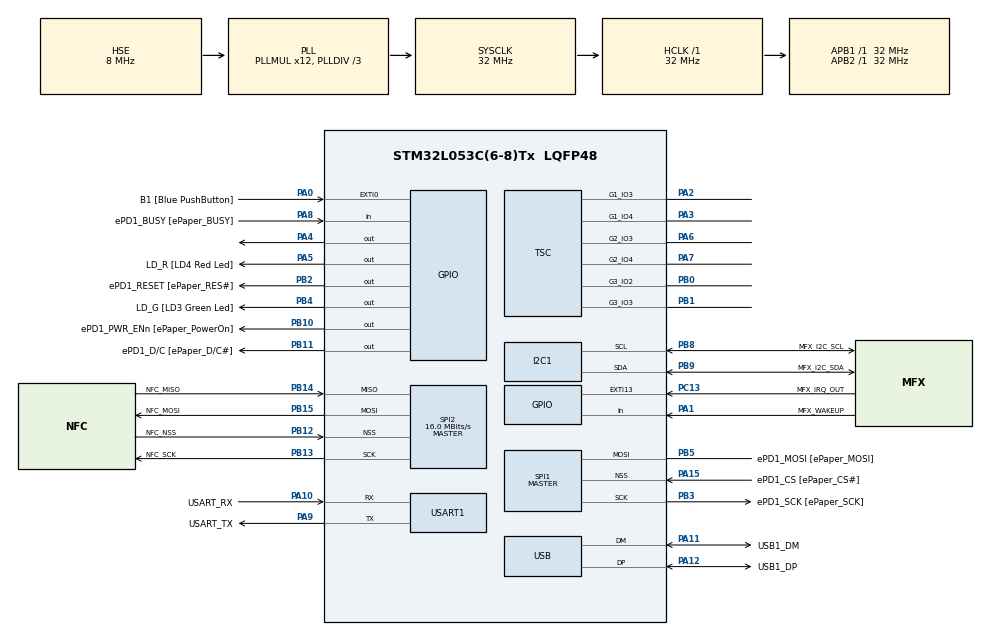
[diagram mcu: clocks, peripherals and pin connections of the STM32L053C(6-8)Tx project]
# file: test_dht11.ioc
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I2C1.Timing=0x00707CBB
Mcu.Family=STM32L0
Mcu.Name=STM32L053C(6-8)Tx
Mcu.Package=LQFP48
PA0.GPIO_Label=B1 [Blue PushButton]
PA0.GPIO_ModeDefaultEXTI=GPIO_MODE_EVT_RISING
PA0.GPIO_PuPd=GPIO_NOPULL
PA0.Signal=GPXTI0
PA1.GPIO_Label=MFX_WAKEUP
PA1.Signal=GPIO_Input
PA10.GPIO_Label=USART_RX
PA10.Mode=Asynchronous
PA10.Signal=USART1_RX
PA11.GPIO_Label=USB1_DM
PA11.Mode=Device
PA11.Signal=USB_DM
PA12.GPIO_Label=USB1_DP
PA12.Mode=Device
PA12.Signal=USB_DP
PA13.GPIO_Label=SWDIO
PA13.Mode=Serial_Wire
PA13.Signal=SYS_SWDIO
PA14.Mode=Serial_Wire
PA14.Signal=SYS_SWCLK
PA15.GPIO_Label=ePD1_CS [ePaper_CS\#]
PA15.GPIO_Mode=GPIO_MODE_AF_PP
PA15.GPIO_PuPd=GPIO_NOPULL
PA15.GPIO_Speed=GPIO_SPEED_FREQ_LOW
PA15.Mode=NSS_Signal_Hard_Input
PA15.Signal=SPI1_NSS
PA2.Mode=G1_IO3-Channel
PA2.Signal=TSC_G1_IO3
PA3.Mode=G1_IO4-Sampling
PA3.Signal=TSC_G1_IO4
PA4.Signal=GPIO_Output
PA5.GPIO_Label=LD_R [LD4 Red Led]
PA5.GPIO_ModeDefaultOutputPP=GPIO_MODE_OUTPUT_PP
PA5.GPIO_PuPd=GPIO_NOPULL
PA5.GPIO_Speed=GPIO_SPEED_FREQ_LOW
PA5.Signal=GPIO_Output
PA6.Mode=G2_IO3-Channel
PA6.Signal=TSC_G2_IO3
PA7.Mode=G2_IO4-Sampling
PA7.Signal=TSC_G2_IO4
PA8.GPIO_Label=ePD1_BUSY [ePaper_BUSY]
PA8.GPIO_Mode=GPIO_MODE_INPUT
PA8.GPIO_PuPd=GPIO_NOPULL
PA8.Signal=GPIO_Input
PA9.GPIO_Label=USART_TX
PA9.Mode=Asynchronous
PA9.Signal=USART1_TX
PB0.Mode=G3_IO2-Channel
PB0.Signal=TSC_G3_IO2
PB1.Mode=G3_IO3-Sampling
PB1.Signal=TSC_G3_IO3
PB10.GPIO_Label=ePD1_PWR_ENn [ePaper_PowerOn]
PB10.GPIO_ModeDefaultOutputPP=GPIO_MODE_OUTPUT_PP
PB10.GPIO_PuPd=GPIO_NOPULL
PB10.GPIO_Speed=GPIO_SPEED_FREQ_LOW
PB10.Signal=GPIO_Output
PB11.GPIO_Label=ePD1_D/C [ePaper_D/C\#]
PB11.GPIO_ModeDefaultOutputPP=GPIO_MODE_OUTPUT_PP
PB11.GPIO_PuPd=GPIO_NOPULL
PB11.GPIO_Speed=GPIO_SPEED_FREQ_LOW
PB11.Signal=GPIO_Output
PB12.GPIO_Label=NFC_NSS
PB12.Mode=NSS_Signal_Hard_Input
PB12.Signal=SPI2_NSS
PB13.GPIO_Label=NFC_SCK
PB13.Mode=Full_Duplex_Master
PB13.Signal=SPI2_SCK
PB14.GPIO_Label=NFC_MISO
PB14.Mode=Full_Duplex_Master
PB14.Signal=SPI2_MISO
PB15.GPIO_Label=NFC_MOSI
PB15.Mode=Full_Duplex_Master
PB15.Signal=SPI2_MOSI
PB2.GPIO_Label=ePD1_RESET [ePaper_RES\#]
PB2.GPIO_ModeDefaultOutputPP=GPIO_MODE_OUTPUT_PP
PB2.GPIO_PuPd=GPIO_NOPULL
PB2.GPIO_Speed=GPIO_SPEED_FREQ_LOW
PB2.Signal=GPIO_Output
PB3.GPIO_Label=ePD1_SCK [ePaper_SCK]
PB3.GPIO_Mode=GPIO_MODE_AF_PP
PB3.GPIO_PuPd=GPIO_NOPULL
PB3.GPIO_Speed=GPIO_SPEED_FREQ_LOW
PB3.Mode=Simplex_Bidirectional_Master
PB3.Signal=SPI1_SCK
PB4.GPIO_Label=LD_G [LD3 Green Led]
PB4.GPIO_ModeDefaultOutputPP=GPIO_MODE_OUTPUT_PP
PB4.GPIO_PuPd=GPIO_NOPULL
PB4.GPIO_Speed=GPIO_SPEED_FREQ_LOW
PB4.Signal=GPIO_Output
PB5.GPIO_Label=ePD1_MOSI [ePaper_MOSI]
PB5.GPIO_Mode=GPIO_MODE_AF_PP
PB5.GPIO_PuPd=GPIO_NOPULL
PB5.GPIO_Speed=GPIO_SPEED_FREQ_LOW
PB5.Mode=Simplex_Bidirectional_Master
PB5.Signal=SPI1_MOSI
PB8.GPIO_Label=MFX_I2C_SCL
PB8.GPIO_Pu=GPIO_PULLUP
PB8.Mode=I2C
PB8.Signal=I2C1_SCL
PB9.GPIO_Label=MFX_I2C_SDA
PB9.GPIO_Pu=GPIO_PULLUP
PB9.Mode=I2C
PB9.Signal=I2C1_SDA
PC13.GPIO_Label=MFX_IRQ_OUT
PC13.Signal=GPXTI13
PC14-OSC32_IN.GPIO_Label=PC14-OSC32_IN
PC14-OSC32_IN.Signal=RCC_OSC32_IN
PC15-OSC32_OUT.GPIO_Label=PC15-OSC32_OUT
PC15-OSC32_OUT.Signal=RCC_OSC32_OUT
PH0-OSC_IN.GPIO_Label=MCO
PH0-OSC_IN.Mode=HSE-External-Clock-Source
PH0-OSC_IN.Signal=RCC_OSC_IN
ProjectManager.HeapSize=0x200
ProjectManager.StackSize=0x400
ProjectManager.TargetToolchain=STM32CubeIDE
RCC.AHBFreq_Value=32000000
RCC.APB1Freq_Value=32000000
RCC.APB1TimFreq_Value=32000000
RCC.APB2Freq_Value=32000000
RCC.APB2TimFreq_Value=32000000
RCC.HCLKFreq_Value=32000000
RCC.HSE_VALUE=8000000
RCC.HSI16_VALUE=16000000
RCC.HSI48MClockSelection=RCC_USBCLKSOURCE_HSI48
RCC.HSI48_VALUE=48000000
RCC.HSI_VALUE=16000000
RCC.LSE_VALUE=32768
RCC.MSI_VALUE=2097000
RCC.PLLDIV=RCC_PLLDIV_3
RCC.PLLMUL=RCC_PLLMUL_12
RCC.PLLSourceVirtual=RCC_PLLSOURCE_HSE
RCC.RTCClockSelectionVirtual=RCC_RTCCLKSOURCE_LSE
RCC.SYSCLKFreq_VALUE=32000000
RCC.SYSCLKSource=RCC_SYSCLKSOURCE_PLLCLK
RCC.VCOOutputFreq_Value=96000000
SPI1.CalculateBaudRate-Simplex_Bidirectional_Master=16.0 MBits/s
SPI1.Direction=SPI_DIRECTION_1LINE
SPI1.Direction-Simplex_Bidirectional_Master=SPI_DIRECTION_1LINE
SPI1.Mode=SPI_MODE_MASTER
SPI1.Mode-Simplex_Bidirectional_Master=SPI_MODE_MASTER
SPI1.NSS-Simplex_Bidirectional_Master=SPI_NSS_HARD_OUTPUT
SPI1.TIMode-Simplex_Bidirectional_Master=SPI_TIMODE_DISABLE
SPI1.VirtualNSS=VM_NSSHARD
SPI1.VirtualType=VM_MASTER
SPI2.CalculateBaudRate=16.0 MBits/s
SPI2.Direction=SPI_DIRECTION_2LINES
SPI2.Mode=SPI_MODE_MASTER
SPI2.VirtualNSS=VM_NSSHARD
SPI2.VirtualType=VM_MASTER
TSC.ChannelIOs-G1_IO3=TSC_GROUP1_IO3
TSC.ChannelIOs-G2_IO3=TSC_GROUP2_IO3
TSC.ChannelIOs-G3_IO2=TSC_GROUP3_IO2
TSC.SamplingIOs-G1_IO4=TSC_GROUP1_IO4
TSC.SamplingIOs-G2_IO4=TSC_GROUP2_IO4
TSC.SamplingIOs-G3_IO3=TSC_GROUP3_IO3
USART1.VirtualMode-Asynchronous=VM_ASYNC
board=STM32L0538-DISCO

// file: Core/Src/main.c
/* USER CODE BEGIN Header */
/**
  ******************************************************************************
  * @file           : main.c
  * @brief          : Main program body
  ******************************************************************************
  * @attention
  *
  * Copyright (c) 2023 STMicroelectronics.
  * All rights reserved.
  *
  * This software is licensed under terms that can be found in the LICENSE file
  * in the root directory of this software component.
  * If no LICENSE file comes with this software, it is provided AS-IS.
  *
  ******************************************************************************
  */
/* USER CODE END Header */
#include "main.h"

/* USER CODE BEGIN Includes */
//#include "dhtxx.h"
//#include "dht11.h"
#include "DHT.h"
#include <stdio.h>
#include <string.h>

#include "stm32l053xx.h"
#include "stm32l0xx_hal_rcc.h"
#include "stm32l0xx_hal_gpio.h"
#include "picture.h"
#include "dht11.h"
#include "utils.h"
#include "gde021a1.h"
#include "stm32l0538_discovery.h"
#include "stm32l0538_discovery_epd.h"
/* USER CODE END Includes */

/* USER CODE BEGIN PTD */
//DHTxx_Drv_t dht1;
/* USER CODE END PTD */

I2C_HandleTypeDef hi2c1;

SPI_HandleTypeDef hspi1;
SPI_HandleTypeDef hspi2;

TSC_HandleTypeDef htsc;

UART_HandleTypeDef huart1;

PCD_HandleTypeDef hpcd_USB_FS;

/* USER CODE BEGIN PV */
GPIO_InitTypeDef GPIO_InitStruct = {0};
/* USER CODE END PV */

void SystemClock_Config(void);
static void MX_GPIO_Init(void);
static void MX_I2C1_Init(void);
static void MX_SPI1_Init(void);
static void MX_SPI2_Init(void);
static void MX_TSC_Init(void);
static void MX_USART1_UART_Init(void);
static void MX_USB_PCD_Init(void);

/* USER CODE BEGIN 0 */
void LoopDelay(volatile uint32_t n) {
	while(n > 0) n--;
}

static void SPIx_Init(void) {

    /* On STM32L0538-DISCO, EPD ID cannot be read then keep a common configuration */
    /* for EPD (SPI_DIRECTION_2LINES) */
    /* Note: To read a register a EPD, SPI_DIRECTION_1LINE should be set */
  DISCOVERY_SPIx->CR1 = 0
    | ( 1 * SPI_CR1_CPHA     )         // Clock Phase
    | ( 1 * SPI_CR1_CPOL     )         // Clock Polarity
    | ( 1 * SPI_CR1_MSTR     )         // Master Selection
    | ( SPI_CR1_BR__8 * SPI_CR1_BR_0     )         // BR[2:0] bits (Baud Rate Control)  // fPCLK/8
    | ( 1 * SPI_CR1_SPE      )         // SPI Enable
    | ( 0 * SPI_CR1_LSBFIRST )         // Frame Format
    | ( 1 * SPI_CR1_SSI      )         // Internal slave select
    | ( 1 * SPI_CR1_SSM      )         // Software slave management
    | ( 0 * SPI_CR1_RXONLY   )         // Receive only
    | ( SPI_CR1_DFF__8 * SPI_CR1_DFF      )         // Data Frame Format // 8 bits
    | ( 0 * SPI_CR1_CRCNEXT  )         // Transmit CRC next
    | ( 0 * SPI_CR1_CRCEN    )         // Hardware CRC calculation enable
    | ( 0 * SPI_CR1_BIDIOE   )         // Output enable in bidirectional mode
    | ( 0 * SPI_CR1_BIDIMODE )         // Bidirectional data mode enable
  ;
}

// won't be used anyway, as there is no MISO from the display
static uint32_t SPIx_Read(void) {
  return 0;
}

static void SPIx_Write(uint8_t n) {
  DISCOVERY_SPIx->DR = n;
  while (!(DISCOVERY_SPIx->SR & SPI_SR_TXE)) {
    // wait until empty
  }
  while ((DISCOVERY_SPIx->SR & SPI_SR_BSY)) {
    // wait until not busy
  }
}

void EPD_IO_Init(void) {
  // pins pinit - see gpio-clock init and gpio pins init in main()

  /* Enable Display */
  PIN_CLR(EPD_PWR);

  /* Set or Reset the control line */
  PIN_CLR(EPD_CS);
  PIN_SET(EPD_CS);

  /* EPD reset pin mamagement */
  PIN_SET(EPD_RESET);
  EPD_Delay(10);

  PIN_SET(DISCOVERY_SPIx_SCK);
  /* SPI Configuration */
  SPIx_Init();
}

void EPD_IO_WriteData(uint16_t n) {
  /* Reset EPD control line CS */
  PIN_CLR(EPD_CS);
  /* Set EPD data/command line DC to High */
  PIN_SET(EPD_DC);
  /* Send Data */
  SPIx_Write(n);
  /* Deselect: Chip Select high */
  PIN_SET(EPD_CS);
}

/**
  * @brief  Writes command to selected EPD register.
  * @param  Reg: Address of the selected register.
  * @retval None
  */
void EPD_IO_WriteReg(uint8_t n) {
  /* Reset EPD control line CS */
  PIN_CLR(EPD_CS);
  /* Set EPD data/command line DC to Low */
  PIN_CLR(EPD_DC);
  /* Send Command */
  SPIx_Write(n);
  /* Deselect: Chip Select high */
  PIN_SET(EPD_CS);
}

// following is bogus: there's no MISO connected
uint16_t EPD_IO_ReadData(void) {
  #if(1)
    return 0;
  #else
    /* Reset EPD control line CS */
    PIN_CLR(EPD_CS);
    /* Deselect: Chip Select high */
    PIN_SET(EPD_CS);
    /* Read Data */
    return SPIx_Read();
  #endif
}

/**
  * @brief  Wait for loop in ms.
  * @param  Delay in ms.
  * @retval None
  */
void EPD_Delay (uint32_t n) {
  LoopDelay(n * 3000);  // some fancy factor to get it roughly in ms
}

// ---------------------- M A I N -----------------------------------
uint16_t read_cycle(uint16_t cur_tics, uint8_t neg_tic){
	uint16_t cnt_tics;
 	if (cur_tics < MAX_TICS) cnt_tics = 0;
	if (neg_tic){
		//while (!GPIO_ReadInputDataBit(GPIOA,GPIO_PIN_4)&&(cnt_tics<MAX_TICS)){
		while (!HAL_GPIO_ReadPin(GPIOA,GPIO_PIN_4) && (cnt_tics<MAX_TICS)){
			cnt_tics++;
		}
	}
	else {
		//while (GPIO_ReadInputDataBit(GPIOA,GPIO_PIN_4)&&(cnt_tics<MAX_TICS)){
		while (HAL_GPIO_ReadPin(GPIOA,GPIO_PIN_4) && (cnt_tics<MAX_TICS)){
			cnt_tics++;
		}
	}
 	return cnt_tics;
}

uint8_t read_DHT11(uint8_t *buf){
	uint16_t dt[42];
	uint16_t cnt;
	uint8_t i, check_sum;

	GPIO_InitStruct.Pin = GPIO_PIN_4;
	GPIO_InitStruct.Mode = GPIO_MODE_OUTPUT_PP;
	GPIO_InitStruct.Pull = GPIO_NOPULL;
	GPIO_InitStruct.Speed = GPIO_SPEED_FREQ_LOW;
	HAL_GPIO_Init(GPIOA, &GPIO_InitStruct);

	//reset DHT11
	//Delay(500);
	HAL_Delay(500);
 	//GPIO_LOW(GPIOA, GPIO_PIN_3);
 	HAL_GPIO_WritePin(GPIOA, GPIO_PIN_4, RESET);
	//Delay(20);
	HAL_Delay(20);
 	//GPIO_HIGH(GPIOA, GPIO_PIN_3);
 	HAL_GPIO_WritePin(GPIOA, GPIO_PIN_4, SET);

 	GPIO_InitStruct.Pin = GPIO_PIN_4;
 	GPIO_InitStruct.Mode = GPIO_MODE_INPUT;
 	GPIO_InitStruct.Pull = GPIO_NOPULL;
 	GPIO_InitStruct.Speed = GPIO_SPEED_FREQ_LOW;
 	HAL_GPIO_Init(GPIOA, &GPIO_InitStruct);

  //start reading
 	cnt = 0;
	for(i=0;i<83 && cnt<MAX_TICS;i++){
		if (i & 1){
			cnt = read_cycle(cnt, 1);
		}
		else {
			cnt = read_cycle(cnt, 0);
			dt[i/2]= cnt;
		}
	}

 	//release line
	//GPIO_HIGH(GPIOA, GPIO_PIN_4);
	HAL_GPIO_WritePin(GPIOA, GPIO_PIN_4, SET);

	if (cnt>=MAX_TICS) return DHT11_NO_CONN;

	//convert data
 	for(i=2;i<42;i++){
		(*buf) <<= 1;
  	if (dt[i]>20) {
			(*buf)++;
 		}
		if (!((i-1)%8) && (i>2)) {
			buf++;
		}
 	}

	//calculate checksum
	buf -= 5;
	check_sum = 0;
 	for(i=0;i<4;i++){
		check_sum += *buf;
		buf++;
	}

	if (*buf != check_sum) return DHT11_CS_ERROR;

	return DHT11_OK;
	//return check_sum;
}
/* USER CODE END 0 */

int main(void)
{
  /* USER CODE BEGIN 1 */
  uint8_t buf[5], res;

  char strDisp[25];
  /* USER CODE END 1 */

  /* MCU Configuration--------------------------------------------------------*/

  /* Reset of all peripherals, Initializes the Flash interface and the Systick. */
  HAL_Init();

  /* Configure the system clock */
  SystemClock_Config();

  /* Initialize all configured peripherals */
  MX_GPIO_Init();
  MX_I2C1_Init();
  MX_SPI1_Init();
  MX_SPI2_Init();
  MX_TSC_Init();
  MX_USART1_UART_Init();
  MX_USB_PCD_Init();
  /* USER CODE BEGIN 2 */

  // testing dhtxx lib
  //DwtInit();
   /* Set DHT parameter */
  //dht1.DataPin = GPIO_PIN_4;
  //dht1.DataPort = GPIOA;
  //dht1.Type = DHT11;
  //-------------------------------
  static DHT_sensor livingRoom = {GPIOA, GPIO_PIN_4, DHT11, GPIO_NOPULL};

  BSP_EPD_Init();

 /* BSP_EPD_DrawImage(0, 0, 72, 172, (uint8_t*) picture_1);
  BSP_EPD_RefreshDisplay();
  BSP_EPD_Clear(EPD_COLOR_WHITE);
  HAL_Delay(1000);

  BSP_EPD_DisplayStringAt(0, 45, (unsigned char *)"Introduction to", CENTER_MODE);
  BSP_EPD_DisplayStringAt(0, 42, (unsigned char *)"embedded system", CENTER_MODE);
  BSP_EPD_DisplayStringAt(0, 39, (unsigned char *)"programming", CENTER_MODE);
  BSP_EPD_DisplayStringAt(0, 36, (unsigned char *)"by Yiman A.u.", CENTER_MODE);
  BSP_EPD_RefreshDisplay();
  BSP_EPD_Clear(EPD_COLOR_WHITE);
  HAL_Delay(2000);*/

  /* USER CODE END 2 */

  /* Infinite loop */
  while (1)
  {

    /* USER CODE BEGIN 3 */
	char msg[40];
	//Получение данных �? датчика
	DHT_data d = DHT_getData(&livingRoom);
	//Печать данных в буффер
	sprintf(msg, "Temp %dC, Hum %d%%", (uint8_t)d.temp, (uint8_t)d.hum);
	//Отправка тек�?та в UART

	BSP_EPD_DisplayStringAt(0, 40, (unsigned char *)msg, CENTER_MODE);
	BSP_EPD_RefreshDisplay();
	BSP_EPD_Clear(EPD_COLOR_WHITE);

	HAL_UART_Transmit(&huart1, (uint8_t*)msg, strlen(msg), 0xFF);

	//HAL_Delay(1000);
  }
  /* USER CODE END 3 */
}

void SystemClock_Config(void)
{
  RCC_OscInitTypeDef RCC_OscInitStruct = {0};
  RCC_ClkInitTypeDef RCC_ClkInitStruct = {0};
  RCC_PeriphCLKInitTypeDef PeriphClkInit = {0};

  /** Configure the main internal regulator output voltage
  */
  __HAL_PWR_VOLTAGESCALING_CONFIG(PWR_REGULATOR_VOLTAGE_SCALE1);

  /** Initializes the RCC Oscillators according to the specified parameters
  * in the RCC_OscInitTypeDef structure.
  */
  RCC_OscInitStruct.OscillatorType = RCC_OSCILLATORTYPE_HSE|RCC_OSCILLATORTYPE_HSI48;
  RCC_OscInitStruct.HSEState = RCC_HSE_BYPASS;
  RCC_OscInitStruct.HSI48State = RCC_HSI48_ON;
  RCC_OscInitStruct.PLL.PLLState = RCC_PLL_ON;
  RCC_OscInitStruct.PLL.PLLSource = RCC_PLLSOURCE_HSE;
  RCC_OscInitStruct.PLL.PLLMUL = RCC_PLLMUL_12;
  RCC_OscInitStruct.PLL.PLLDIV = RCC_PLLDIV_3;
  if (HAL_RCC_OscConfig(&RCC_OscInitStruct) != HAL_OK)
  {
    Error_Handler();
  }

  /** Initializes the CPU, AHB and APB buses clocks
  */
  RCC_ClkInitStruct.ClockType = RCC_CLOCKTYPE_HCLK|RCC_CLOCKTYPE_SYSCLK
                              |RCC_CLOCKTYPE_PCLK1|RCC_CLOCKTYPE_PCLK2;
  RCC_ClkInitStruct.SYSCLKSource = RCC_SYSCLKSOURCE_PLLCLK;
  RCC_ClkInitStruct.AHBCLKDivider = RCC_SYSCLK_DIV1;
  RCC_ClkInitStruct.APB1CLKDivider = RCC_HCLK_DIV1;
  RCC_ClkInitStruct.APB2CLKDivider = RCC_HCLK_DIV1;

  if (HAL_RCC_ClockConfig(&RCC_ClkInitStruct, FLASH_LATENCY_1) != HAL_OK)
  {
    Error_Handler();
  }
  PeriphClkInit.PeriphClockSelection = RCC_PERIPHCLK_USART1|RCC_PERIPHCLK_I2C1
                              |RCC_PERIPHCLK_USB;
  PeriphClkInit.Usart1ClockSelection = RCC_USART1CLKSOURCE_PCLK2;
  PeriphClkInit.I2c1ClockSelection = RCC_I2C1CLKSOURCE_PCLK1;
  PeriphClkInit.UsbClockSelection = RCC_USBCLKSOURCE_HSI48;
  if (HAL_RCCEx_PeriphCLKConfig(&PeriphClkInit) != HAL_OK)
  {
    Error_Handler();
  }
}

static void MX_I2C1_Init(void)
{

  hi2c1.Instance = I2C1;
  hi2c1.Init.Timing = 0x00707CBB;
  hi2c1.Init.OwnAddress1 = 0;
  hi2c1.Init.AddressingMode = I2C_ADDRESSINGMODE_7BIT;
  hi2c1.Init.DualAddressMode = I2C_DUALADDRESS_DISABLE;
  hi2c1.Init.OwnAddress2 = 0;
  hi2c1.Init.OwnAddress2Masks = I2C_OA2_NOMASK;
  hi2c1.Init.GeneralCallMode = I2C_GENERALCALL_DISABLE;
  hi2c1.Init.NoStretchMode = I2C_NOSTRETCH_DISABLE;
  if (HAL_I2C_Init(&hi2c1) != HAL_OK)
  {
    Error_Handler();
  }

  /** Configure Analogue filter
  */
  if (HAL_I2CEx_ConfigAnalogFilter(&hi2c1, I2C_ANALOGFILTER_ENABLE) != HAL_OK)
  {
    Error_Handler();
  }

  /** Configure Digital filter
  */
  if (HAL_I2CEx_ConfigDigitalFilter(&hi2c1, 0) != HAL_OK)
  {
    Error_Handler();
  }

}

static void MX_SPI1_Init(void)
{

  /* SPI1 parameter configuration*/
  hspi1.Instance = SPI1;
  hspi1.Init.Mode = SPI_MODE_MASTER;
  hspi1.Init.Direction = SPI_DIRECTION_1LINE;
  hspi1.Init.DataSize = SPI_DATASIZE_8BIT;
  hspi1.Init.CLKPolarity = SPI_POLARITY_LOW;
  hspi1.Init.CLKPhase = SPI_PHASE_1EDGE;
  hspi1.Init.NSS = SPI_NSS_HARD_INPUT;
  hspi1.Init.BaudRatePrescaler = SPI_BAUDRATEPRESCALER_2;
  hspi1.Init.FirstBit = SPI_FIRSTBIT_MSB;
  hspi1.Init.TIMode = SPI_TIMODE_DISABLE;
  hspi1.Init.CRCCalculation = SPI_CRCCALCULATION_DISABLE;
  hspi1.Init.CRCPolynomial = 7;
  if (HAL_SPI_Init(&hspi1) != HAL_OK)
  {
    Error_Handler();
  }

}

static void MX_SPI2_Init(void)
{

  /* SPI2 parameter configuration*/
  hspi2.Instance = SPI2;
  hspi2.Init.Mode = SPI_MODE_MASTER;
  hspi2.Init.Direction = SPI_DIRECTION_2LINES;
  hspi2.Init.DataSize = SPI_DATASIZE_8BIT;
  hspi2.Init.CLKPolarity = SPI_POLARITY_LOW;
  hspi2.Init.CLKPhase = SPI_PHASE_1EDGE;
  hspi2.Init.NSS = SPI_NSS_HARD_INPUT;
  hspi2.Init.BaudRatePrescaler = SPI_BAUDRATEPRESCALER_2;
  hspi2.Init.FirstBit = SPI_FIRSTBIT_MSB;
  hspi2.Init.TIMode = SPI_TIMODE_DISABLE;
  hspi2.Init.CRCCalculation = SPI_CRCCALCULATION_DISABLE;
  hspi2.Init.CRCPolynomial = 7;
  if (HAL_SPI_Init(&hspi2) != HAL_OK)
  {
    Error_Handler();
  }

}

static void MX_TSC_Init(void)
{

  /** Configure the TSC peripheral
  */
  htsc.Instance = TSC;
  htsc.Init.CTPulseHighLength = TSC_CTPH_2CYCLES;
  htsc.Init.CTPulseLowLength = TSC_CTPL_2CYCLES;
  htsc.Init.SpreadSpectrum = DISABLE;
  htsc.Init.SpreadSpectrumDeviation = 1;
  htsc.Init.SpreadSpectrumPrescaler = TSC_SS_PRESC_DIV1;
  htsc.Init.PulseGeneratorPrescaler = TSC_PG_PRESC_DIV4;
  htsc.Init.MaxCountValue = TSC_MCV_8191;
  htsc.Init.IODefaultMode = TSC_IODEF_OUT_PP_LOW;
  htsc.Init.SynchroPinPolarity = TSC_SYNC_POLARITY_FALLING;
  htsc.Init.AcquisitionMode = TSC_ACQ_MODE_NORMAL;
  htsc.Init.MaxCountInterrupt = DISABLE;
  htsc.Init.ChannelIOs = TSC_GROUP1_IO3|TSC_GROUP2_IO3|TSC_GROUP3_IO2;
  htsc.Init.ShieldIOs = 0;
  htsc.Init.SamplingIOs = TSC_GROUP1_IO4|TSC_GROUP2_IO4|TSC_GROUP3_IO3;
  if (HAL_TSC_Init(&htsc) != HAL_OK)
  {
    Error_Handler();
  }

}

static void MX_USART1_UART_Init(void)
{

  huart1.Instance = USART1;
  huart1.Init.BaudRate = 115200;
  huart1.Init.WordLength = UART_WORDLENGTH_8B;
  huart1.Init.StopBits = UART_STOPBITS_1;
  huart1.Init.Parity = UART_PARITY_NONE;
  huart1.Init.Mode = UART_MODE_TX_RX;
  huart1.Init.HwFlowCtl = UART_HWCONTROL_NONE;
  huart1.Init.OverSampling = UART_OVERSAMPLING_16;
  huart1.Init.OneBitSampling = UART_ONE_BIT_SAMPLE_DISABLE;
  huart1.AdvancedInit.AdvFeatureInit = UART_ADVFEATURE_NO_INIT;
  if (HAL_UART_Init(&huart1) != HAL_OK)
  {
    Error_Handler();
  }

}

static void MX_USB_PCD_Init(void)
{

  hpcd_USB_FS.Instance = USB;
  hpcd_USB_FS.Init.dev_endpoints = 8;
  hpcd_USB_FS.Init.speed = PCD_SPEED_FULL;
  hpcd_USB_FS.Init.phy_itface = PCD_PHY_EMBEDDED;
  hpcd_USB_FS.Init.low_power_enable = DISABLE;
  hpcd_USB_FS.Init.lpm_enable = DISABLE;
  hpcd_USB_FS.Init.battery_charging_enable = DISABLE;
  if (HAL_PCD_Init(&hpcd_USB_FS) != HAL_OK)
  {
    Error_Handler();
  }

}

static void MX_GPIO_Init(void)
{
  GPIO_InitTypeDef GPIO_InitStruct = {0};

  /* GPIO Ports Clock Enable */
  __HAL_RCC_GPIOC_CLK_ENABLE();
  __HAL_RCC_GPIOH_CLK_ENABLE();
  __HAL_RCC_GPIOA_CLK_ENABLE();
  __HAL_RCC_GPIOB_CLK_ENABLE();

  /*Configure GPIO pin Output Level */
  HAL_GPIO_WritePin(GPIOA, GPIO_PIN_4|LD_R_Pin, GPIO_PIN_RESET);

  /*Configure GPIO pin Output Level */
  HAL_GPIO_WritePin(GPIOB, ePD1_RESET_Pin|ePD1_PWR_ENn_Pin|ePD1_D_C_Pin|LD_G_Pin, GPIO_PIN_RESET);

  /*Configure GPIO pin : MFX_IRQ_OUT_Pin */
  GPIO_InitStruct.Pin = MFX_IRQ_OUT_Pin;
  GPIO_InitStruct.Mode = GPIO_MODE_IT_RISING;
  GPIO_InitStruct.Pull = GPIO_NOPULL;
  HAL_GPIO_Init(MFX_IRQ_OUT_GPIO_Port, &GPIO_InitStruct);

  /*Configure GPIO pin : B1_Pin */
  GPIO_InitStruct.Pin = B1_Pin;
  GPIO_InitStruct.Mode = GPIO_MODE_EVT_RISING;
  GPIO_InitStruct.Pull = GPIO_NOPULL;
  HAL_GPIO_Init(B1_GPIO_Port, &GPIO_InitStruct);

  /*Configure GPIO pins : MFX_WAKEUP_Pin ePD1_BUSY_Pin */
  GPIO_InitStruct.Pin = MFX_WAKEUP_Pin|ePD1_BUSY_Pin;
  GPIO_InitStruct.Mode = GPIO_MODE_INPUT;
  GPIO_InitStruct.Pull = GPIO_NOPULL;
  HAL_GPIO_Init(GPIOA, &GPIO_InitStruct);

  /*Configure GPIO pins : PA4 LD_R_Pin */
  GPIO_InitStruct.Pin = GPIO_PIN_4|LD_R_Pin;
  GPIO_InitStruct.Mode = GPIO_MODE_OUTPUT_PP;
  //GPIO_InitStruct.Pull = GPIO_NOPULL;
  //GPIO_InitStruct.Speed = GPIO_SPEED_FREQ_LOW;
  HAL_GPIO_Init(GPIOA, &GPIO_InitStruct);

  /*Configure GPIO pins : ePD1_RESET_Pin ePD1_PWR_ENn_Pin ePD1_D_C_Pin LD_G_Pin */
  GPIO_InitStruct.Pin = ePD1_RESET_Pin|ePD1_PWR_ENn_Pin|ePD1_D_C_Pin|LD_G_Pin;
  GPIO_InitStruct.Mode = GPIO_MODE_OUTPUT_PP;
  GPIO_InitStruct.Pull = GPIO_NOPULL;
  GPIO_InitStruct.Speed = GPIO_SPEED_FREQ_LOW;
  HAL_GPIO_Init(GPIOB, &GPIO_InitStruct);

}

void Error_Handler(void)
{
  /* USER CODE BEGIN Error_Handler_Debug */
  /* User can add his own implementation to report the HAL error return state */
  __disable_irq();
  while (1)
  {
	  BSP_EPD_DisplayStringAt(0, 42, (unsigned char *)"ERROR OCCURRED", CENTER_MODE);
	  BSP_EPD_Clear(EPD_COLOR_WHITE);
	  BSP_EPD_RefreshDisplay();
  }
  /* USER CODE END Error_Handler_Debug */
}
